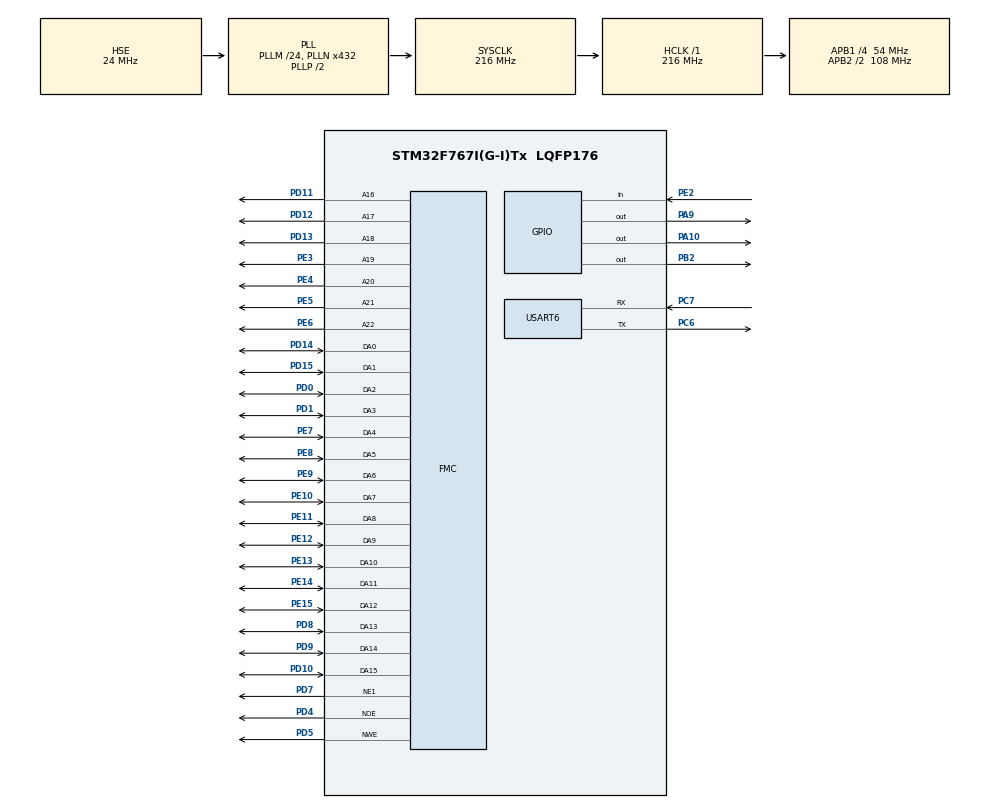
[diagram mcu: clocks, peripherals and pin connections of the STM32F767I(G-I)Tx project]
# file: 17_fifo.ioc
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FMC.AddressHoldTime1=1
FMC.AddressSetupTime1=9
FMC.BusTurnAroundDuration1=0
FMC.DataSetupTime1=8
Mcu.Family=STM32F7
Mcu.Name=STM32F767I(G-I)Tx
Mcu.Package=LQFP176
NVIC.PriorityGroup=NVIC_PRIORITYGROUP_4
NVIC.USART6_IRQn=true\:1\:0\:true\:false\:true
PA10.GPIO_PuPd=GPIO_PULLUP
PA10.GPIO_Speed=GPIO_SPEED_FREQ_VERY_HIGH
PA10.PinState=GPIO_PIN_SET
PA10.Signal=GPIO_Output
PA13.Mode=Serial_Wire
PA13.Signal=SYS_JTMS-SWDIO
PA14.Mode=Serial_Wire
PA14.Signal=SYS_JTCK-SWCLK
PA9.GPIO_PuPd=GPIO_PULLUP
PA9.GPIO_Speed=GPIO_SPEED_FREQ_VERY_HIGH
PA9.PinState=GPIO_PIN_SET
PA9.Signal=GPIO_Output
PB2.GPIO_PuPd=GPIO_PULLUP
PB2.GPIO_Speed=GPIO_SPEED_FREQ_VERY_HIGH
PB2.PinState=GPIO_PIN_SET
PB2.Signal=GPIO_Output
PC6.Mode=Asynchronous
PC6.Signal=USART6_TX
PC7.Mode=Asynchronous
PC7.Signal=USART6_RX
PD0.Signal=FMC_D2_DA2
PD1.Signal=FMC_D3_DA3
PD10.Signal=FMC_D15_DA15
PD11.Signal=FMC_A16_CLE
PD12.Signal=FMC_A17_ALE
PD13.Signal=FMC_A18
PD14.Signal=FMC_D0_DA0
PD15.Signal=FMC_D1_DA1
PD4.Signal=FMC_NOE
PD5.Signal=FMC_NWE
PD7.Mode=NorPsramChipSelect1_1
PD7.Signal=FMC_NE1
PD8.Signal=FMC_D13_DA13
PD9.Signal=FMC_D14_DA14
PE10.Signal=FMC_D7_DA7
PE11.Signal=FMC_D8_DA8
PE12.Signal=FMC_D9_DA9
PE13.Signal=FMC_D10_DA10
PE14.Signal=FMC_D11_DA11
PE15.Signal=FMC_D12_DA12
PE2.Signal=GPIO_Input
PE3.Signal=FMC_A19
PE4.Signal=FMC_A20
PE5.Signal=FMC_A21
PE6.Signal=FMC_A22
PE7.Signal=FMC_D4_DA4
PE8.Signal=FMC_D5_DA5
PE9.Signal=FMC_D6_DA6
PH0/OSC_IN.Mode=HSE-External-Oscillator
PH0/OSC_IN.Signal=RCC_OSC_IN
PH1/OSC_OUT.Mode=HSE-External-Oscillator
PH1/OSC_OUT.Signal=RCC_OSC_OUT
ProjectManager.HeapSize=0x200
ProjectManager.StackSize=0x400
ProjectManager.TargetToolchain=MDK-ARM V5
RCC.AHBFreq_Value=216000000
RCC.APB1CLKDivider=RCC_HCLK_DIV4
RCC.APB1Freq_Value=54000000
RCC.APB1TimFreq_Value=108000000
RCC.APB2CLKDivider=RCC_HCLK_DIV2
RCC.APB2Freq_Value=108000000
RCC.APB2TimFreq_Value=216000000
RCC.CortexFreq_Value=216000000
RCC.HCLKFreq_Value=216000000
RCC.HSE_VALUE=24000000
RCC.HSI_VALUE=16000000
RCC.LSE_VALUE=32768
RCC.PLLM=24
RCC.PLLN=432
RCC.PLLSourceVirtual=RCC_PLLSOURCE_HSE
RCC.SYSCLKFreq_VALUE=216000000
RCC.SYSCLKSource=RCC_SYSCLKSOURCE_PLLCLK
RCC.USBFreq_Value=216000000
RCC.VCOOutputFreq_Value=432000000
SH.FMC_A16_CLE.0=FMC_A16,23b-da1
SH.FMC_A17_ALE.0=FMC_A17,23b-da1
SH.FMC_A18.0=FMC_A18,23b-da1
SH.FMC_A19.0=FMC_A19,23b-da1
SH.FMC_A20.0=FMC_A20,23b-da1
SH.FMC_A21.0=FMC_A21,23b-da1
SH.FMC_A22.0=FMC_A22,23b-da1
SH.FMC_D0_DA0.0=FMC_DA0,23b-da1
SH.FMC_D10_DA10.0=FMC_DA10,23b-da1
SH.FMC_D11_DA11.0=FMC_DA11,23b-da1
SH.FMC_D12_DA12.0=FMC_DA12,23b-da1
SH.FMC_D13_DA13.0=FMC_DA13,23b-da1
SH.FMC_D14_DA14.0=FMC_DA14,23b-da1
SH.FMC_D15_DA15.0=FMC_DA15,23b-da1
SH.FMC_D1_DA1.0=FMC_DA1,23b-da1
SH.FMC_D2_DA2.0=FMC_DA2,23b-da1
SH.FMC_D3_DA3.0=FMC_DA3,23b-da1
SH.FMC_D4_DA4.0=FMC_DA4,23b-da1
SH.FMC_D5_DA5.0=FMC_DA5,23b-da1
SH.FMC_D6_DA6.0=FMC_DA6,23b-da1
SH.FMC_D7_DA7.0=FMC_DA7,23b-da1
SH.FMC_D8_DA8.0=FMC_DA8,23b-da1
SH.FMC_D9_DA9.0=FMC_DA9,23b-da1
SH.FMC_NOE.0=FMC_NOE,MuxedNorFlash1
SH.FMC_NWE.0=FMC_NWE,MuxedNorFlash1
USART6.VirtualMode-Asynchronous=VM_ASYNC
USART6.WordLength=WORDLENGTH_8B
board=17_fifo

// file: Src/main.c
/**
  ******************************************************************************
  * File Name          : main.c
  * Description        : Main program body
  ******************************************************************************
  ** This notice applies to any and all portions of this file
  * that are not between comment pairs USER CODE BEGIN and
  * USER CODE END. Other portions of this file, whether
  * inserted by the user or by software development tools
  * are owned by their respective copyright owners.
  *
  * COPYRIGHT(c) 2017 STMicroelectronics
  *
  * Redistribution and use in source and binary forms, with or without modification,
  * are permitted provided that the following conditions are met:
  *   1. Redistributions of source code must retain the above copyright notice,
  *      this list of conditions and the following disclaimer.
  *   2. Redistributions in binary form must reproduce the above copyright notice,
  *      this list of conditions and the following disclaimer in the documentation
  *      and/or other materials provided with the distribution.
  *   3. Neither the name of STMicroelectronics nor the names of its contributors
  *      may be used to endorse or promote products derived from this software
  *      without specific prior written permission.
  *
  * THIS SOFTWARE IS PROVIDED BY THE COPYRIGHT HOLDERS AND CONTRIBUTORS "AS IS"
  * AND ANY EXPRESS OR IMPLIED WARRANTIES, INCLUDING, BUT NOT LIMITED TO, THE
  * IMPLIED WARRANTIES OF MERCHANTABILITY AND FITNESS FOR A PARTICULAR PURPOSE ARE
  * DISCLAIMED. IN NO EVENT SHALL THE COPYRIGHT HOLDER OR CONTRIBUTORS BE LIABLE
  * FOR ANY DIRECT, INDIRECT, INCIDENTAL, SPECIAL, EXEMPLARY, OR CONSEQUENTIAL
  * DAMAGES (INCLUDING, BUT NOT LIMITED TO, PROCUREMENT OF SUBSTITUTE GOODS OR
  * SERVICES; LOSS OF USE, DATA, OR PROFITS; OR BUSINESS INTERRUPTION) HOWEVER
  * CAUSED AND ON ANY THEORY OF LIABILITY, WHETHER IN CONTRACT, STRICT LIABILITY,
  * OR TORT (INCLUDING NEGLIGENCE OR OTHERWISE) ARISING IN ANY WAY OUT OF THE USE
  * OF THIS SOFTWARE, EVEN IF ADVISED OF THE POSSIBILITY OF SUCH DAMAGE.
  *
  ******************************************************************************
  */
#include "main.h"
#include "stm32f7xx_hal.h"
#include "usart.h"
#include "gpio.h"
#include "fmc.h"

/* USER CODE BEGIN Includes */
#include "usart6.h"
#include <ctype.h>
#include <string.h>
#include <stdlib.h>
#include <stdio.h>
/* USER CODE END Includes */

/* USER CODE BEGIN PV */
/* Private variables ---------------------------------------------------------*/

/* USER CODE END PV */

void SystemClock_Config(void);

/* USER CODE BEGIN PFP */
/* Private function prototypes -----------------------------------------------*/

/* USER CODE END PFP */

int main(void)
{

  /* USER CODE BEGIN 1 */
	int i;
	int fsmc_read_data;
	char error_flag = 0;
	char receive_data[50];
	char buffer[15];
	char *p;
  /* USER CODE END 1 */

  /* MCU Configuration----------------------------------------------------------*/

  /* Reset of all peripherals, Initializes the Flash interface and the Systick. */
  HAL_Init();

  /* Configure the system clock */
  SystemClock_Config();

  /* Initialize all configured peripherals */
  MX_GPIO_Init();
  MX_USART6_UART_Init();
  MX_FMC_Init();

  /* USER CODE BEGIN 2 */
	usart6.initialize(115200);
	usart6.printf("Hello,I am iCore4!\r\n");
	LED_GREEN_ON;
  /* USER CODE END 2 */

  /* Infinite loop */
  while (1)
  {

  /* USER CODE BEGIN 3 */
		if(usart6.receive_ok_flag == 1){
			usart6.receive_ok_flag = 0;
			memset(receive_data,0,sizeof(receive_data));
			memset(buffer,0,sizeof(buffer));
			for(i = 0;i < 30;i ++){
				receive_data[i] = usart6.receive_buffer[i];
			}
			p = receive_data;
			i = 0;
			while(*p != '\r'){									//获取操作命令
				buffer[i++] = *p++;
				if(i > sizeof(buffer))i = 0;
			}
			for(i = 0;i < sizeof(buffer);i++){//将命令转化为小写字符
				buffer[i] = tolower(buffer[i]);
			}

			if(memcmp(buffer,"write_fifo",strlen("write_fifo")) == 0){//执行写Fifo
				error_flag = 0;
				usart6.printf("Data In Fifo:");
				for(i = 0;;i++){
					fpga_write(0,i);
					usart6.printf("%d ",i);
					if(FIFO_FULL){
						fpga_write(0,i+1);
						usart6.printf("%d ",i+1);
						usart6.printf("  \r\nFifo is Full!\r\n   Data Out Fifo:");
						for(i = 0;i < 256;i++){						      //开始读取256个数据
							fsmc_read_data = fpga_read(0);
							usart6.printf("%d ",fsmc_read_data);		//读取值发送至串口
						}
						break;
					}
				}
			}else{
				error_flag = 1;
			}

			if(error_flag){
				LED_RED_ON;
				LED_GREEN_OFF;
				usart6.printf("Bad Command!\r\n");
			}else{
				LED_RED_OFF;
				LED_GREEN_ON;
			}
		}
  }
  /* USER CODE END 3 */

}

/** System Clock Configuration
*/
void SystemClock_Config(void)
{

  RCC_OscInitTypeDef RCC_OscInitStruct;
  RCC_ClkInitTypeDef RCC_ClkInitStruct;
  RCC_PeriphCLKInitTypeDef PeriphClkInitStruct;

    /**Configure the main internal regulator output voltage
    */
  __HAL_RCC_PWR_CLK_ENABLE();

  __HAL_PWR_VOLTAGESCALING_CONFIG(PWR_REGULATOR_VOLTAGE_SCALE1);

    /**Initializes the CPU, AHB and APB busses clocks
    */
  RCC_OscInitStruct.OscillatorType = RCC_OSCILLATORTYPE_HSE;
  RCC_OscInitStruct.HSEState = RCC_HSE_ON;
  RCC_OscInitStruct.PLL.PLLState = RCC_PLL_ON;
  RCC_OscInitStruct.PLL.PLLSource = RCC_PLLSOURCE_HSE;
  RCC_OscInitStruct.PLL.PLLM = 24;
  RCC_OscInitStruct.PLL.PLLN = 432;
  RCC_OscInitStruct.PLL.PLLP = RCC_PLLP_DIV2;
  RCC_OscInitStruct.PLL.PLLQ = 2;
  if (HAL_RCC_OscConfig(&RCC_OscInitStruct) != HAL_OK)
  {
    _Error_Handler(__FILE__, __LINE__);
  }

    /**Activate the Over-Drive mode
    */
  if (HAL_PWREx_EnableOverDrive() != HAL_OK)
  {
    _Error_Handler(__FILE__, __LINE__);
  }

    /**Initializes the CPU, AHB and APB busses clocks
    */
  RCC_ClkInitStruct.ClockType = RCC_CLOCKTYPE_HCLK|RCC_CLOCKTYPE_SYSCLK
                              |RCC_CLOCKTYPE_PCLK1|RCC_CLOCKTYPE_PCLK2;
  RCC_ClkInitStruct.SYSCLKSource = RCC_SYSCLKSOURCE_PLLCLK;
  RCC_ClkInitStruct.AHBCLKDivider = RCC_SYSCLK_DIV1;
  RCC_ClkInitStruct.APB1CLKDivider = RCC_HCLK_DIV4;
  RCC_ClkInitStruct.APB2CLKDivider = RCC_HCLK_DIV2;

  if (HAL_RCC_ClockConfig(&RCC_ClkInitStruct, FLASH_LATENCY_7) != HAL_OK)
  {
    _Error_Handler(__FILE__, __LINE__);
  }

  PeriphClkInitStruct.PeriphClockSelection = RCC_PERIPHCLK_USART6;
  PeriphClkInitStruct.Usart6ClockSelection = RCC_USART6CLKSOURCE_PCLK2;
  if (HAL_RCCEx_PeriphCLKConfig(&PeriphClkInitStruct) != HAL_OK)
  {
    _Error_Handler(__FILE__, __LINE__);
  }

    /**Configure the Systick interrupt time
    */
  HAL_SYSTICK_Config(HAL_RCC_GetHCLKFreq()/1000);

    /**Configure the Systick
    */
  HAL_SYSTICK_CLKSourceConfig(SYSTICK_CLKSOURCE_HCLK);

  /* SysTick_IRQn interrupt configuration */
  HAL_NVIC_SetPriority(SysTick_IRQn, 0, 0);
}

void _Error_Handler(char * file, int line)
{
  while(1)
  {
  }
}

/************************ (C) COPYRIGHT STMicroelectronics *****END OF FILE****/
